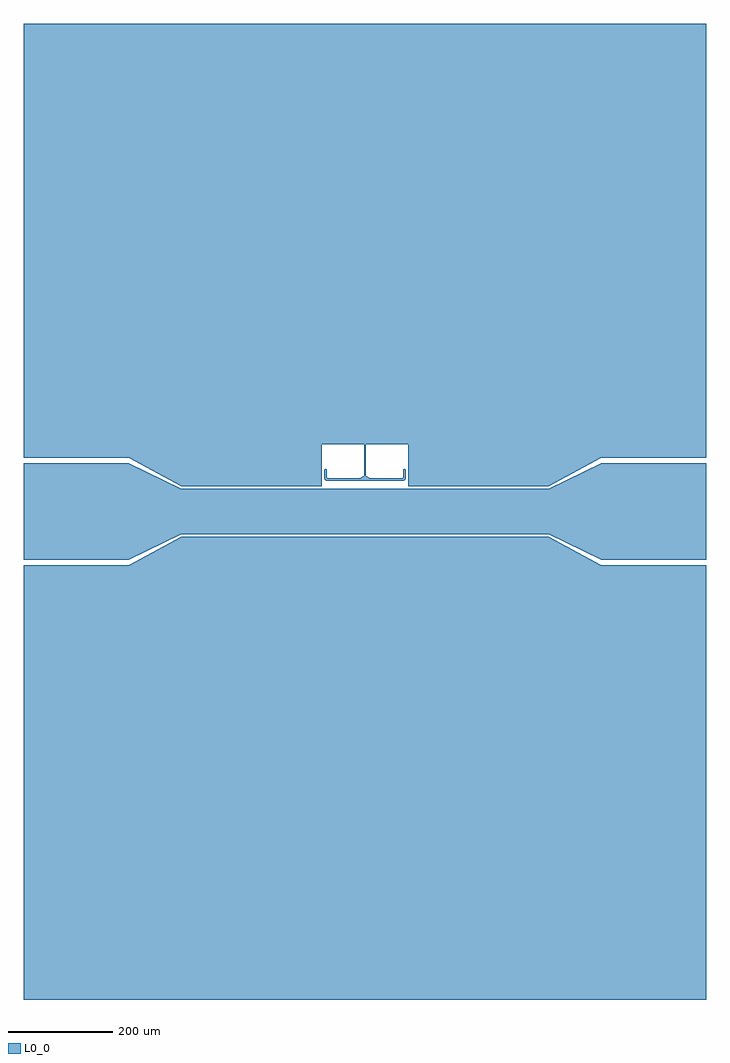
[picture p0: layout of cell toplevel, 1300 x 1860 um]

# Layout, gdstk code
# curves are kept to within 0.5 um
import gdstk
lib = gdstk.Library(unit=1e-6, precision=1e-09)
def R(c, l, rs):  # rectangles x0, y0, x1, y1
    for r in rs: c.add(gdstk.rectangle(r[:2], r[2:], *l))
def P(c, l, *ps):  # polygons
    for p in ps: c.add(gdstk.Polygon(p, *l))
L0_0 = (0, 0)

toplevel = lib.new_cell('toplevel')
R(toplevel, L0_0, [(-1.25,68.5,1.25,128.5)])
P(toplevel, L0_0, [(82.5,128.5),(82.5,48.5),(350,48.5),(450,102.575),(650,102.575),(650,930),(-650,930),(-650,102.575),(-450,102.575),(-350,48.5),(-82.5,48.5),(-82.5,128.5)],
  [(650,-930),(650,-102.575),(450,-102.575),(350,-48.5),(-350,-48.5),(-450,-102.575),(-650,-102.575),(-650,-930)],
  [(-75.109,80.998),(-76.689,80.343),(-77.479,78.826),(-77.401,63.689),(-75.69,60.124),(-72.097,58.572),(71.22,58.51),(75.563,60.007),(77.428,63.903),(77.479,78.826),(76.607,80.415),(75,81),(73.393,80.415),(72.559,79.041),(72.48,64.7),(71.559,63.543),(-71.559,63.543),(-72.48,64.7),(-72.559,79.041),(-73.478,80.483)],
  [(10,63.5),(1.25,68.5),(-1.25,68.5),(-10,63.5)],
  [(-350,43.5),(-450,92),(-650,92),(-650,-92),(-450,-92),(-350,-43.5),(350,-43.5),(450,-92),(650,-92),(650,92),(450,92),(350,43.5)])

lib.write_gds('toplevel.gds')
